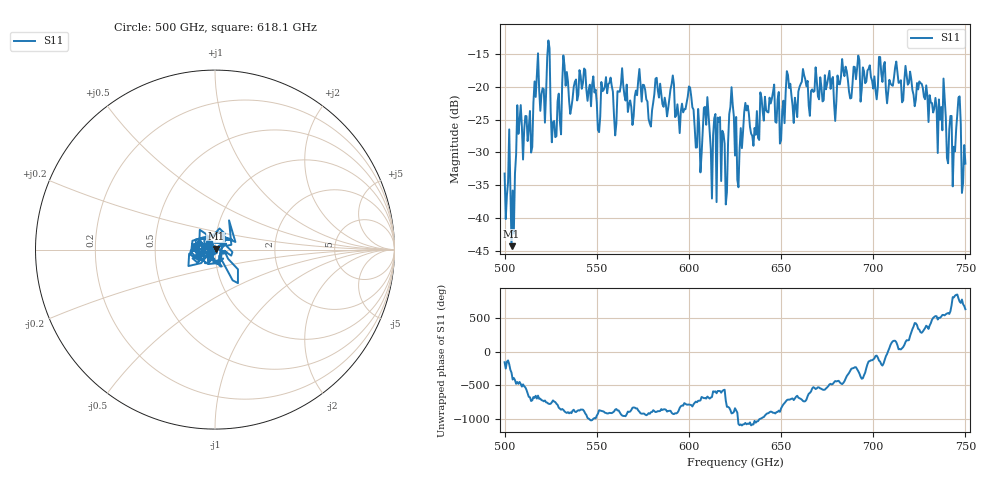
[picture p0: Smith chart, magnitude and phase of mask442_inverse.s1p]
!Created with skrf (http://scikit-rf.org).
# GHz S MA R 50.0
!freq magS11 angS11
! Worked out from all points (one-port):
!   401 points, 500 GHz to 750 GHz, reference 50 ohm
!   lowest |S11| = -44.3 dB at 503.8 GHz (marker M1), VSWR 1.01, Z = 50.4 + j0.458 ohm
!   |S11| at or under -10 dB: start of sweep to end of sweep
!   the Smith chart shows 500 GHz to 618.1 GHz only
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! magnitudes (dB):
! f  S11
! 500 GHz  -33.2
! 503.8 GHz  -44.3
! 508.1 GHz  -25.1
! 513.8 GHz  -23.7
! 517.5 GHz  -18.3
! 523.8 GHz  -12.9
! 526.9 GHz  -25.2
! 531.2 GHz  -19.4
! 550.6 GHz  -26.6
! 562.5 GHz  -20.7
! 579.4 GHz  -26.0
! 590.6 GHz  -19.6
! 593.8 GHz  -22.7
! 600.6 GHz  -20.1
! 605.6 GHz  -26.1
! 609.4 GHz  -25.8
! 620 GHz  -37.9
! 623.1 GHz  -20.0
! 625 GHz  -30.5
! 627.5 GHz  -29.4
! 631.2 GHz  -23.6
! 635 GHz  -29.0
! 656.2 GHz  -22.9
! 687.5 GHz  -21.8
! 718.8 GHz  -19.7
! 743.8 GHz  -29.1
! 746.2 GHz  -21.6
! 750 GHz  -31.7
